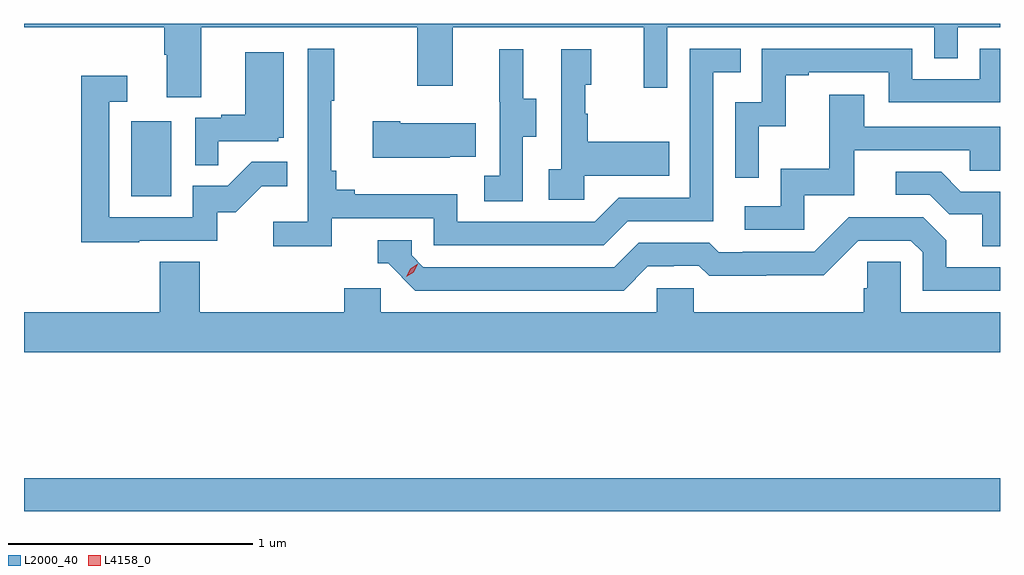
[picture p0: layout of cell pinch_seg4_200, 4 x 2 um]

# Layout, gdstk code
import gdstk
lib = gdstk.Library(unit=1e-6, precision=1e-09)
def R(c, l, rs):  # rectangles x0, y0, x1, y1
    for r in rs: c.add(gdstk.rectangle(r[:2], r[2:], *l))
def P(c, l, *ps):  # polygons
    for p in ps: c.add(gdstk.Polygon(p, *l))
L2000_40 = (2000, 40)
L4158_0 = (4158, 0)

pinch_seg4_200 = lib.new_cell('pinch_seg4_200')
R(pinch_seg4_200, L2000_40, [(963.859,830.8,967.859,830.936), (964.298,832.092,964.462,832.399)])
P(pinch_seg4_200, L2000_40, [(964.585,832.784),(965.47,832.784),(965.47,832.545),(965.617,832.545),(965.617,832.784),(966.398,832.784),(966.398,832.536),(966.495,832.536),(966.495,832.784),(967.59,832.784),(967.59,832.657),(967.686,832.657),(967.686,832.784),(967.859,832.784),(967.859,832.799),(963.859,832.799),(963.859,832.784),(964.433,832.784),(964.433,832.672),(964.445,832.672),(964.445,832.498),(964.585,832.498)],
  [(965.12,832.002),(965.538,832.002),(965.538,831.891),(966.235,831.891),(966.334,831.99),(966.684,831.99),(966.684,832.599),(966.797,832.599),(966.797,832.695),(966.588,832.695),(966.588,832.086),(966.297,832.086),(966.198,831.987),(965.634,831.987),(965.634,832.099),(965.215,832.099),(965.215,832.118),(965.138,832.118),(965.138,832.195),(965.119,832.195),(965.119,832.483),(965.131,832.483),(965.131,832.696),(965.022,832.696),(965.022,831.988),(964.881,831.988),(964.881,831.886),(965.12,831.886)],
  [(966.87,832.379),(966.98,832.379),(966.98,832.587),(967.075,832.587),(967.075,832.599),(967.404,832.599),(967.404,832.476),(967.859,832.476),(967.859,832.695),(967.776,832.695),(967.776,832.572),(967.5,832.572),(967.5,832.695),(966.882,832.695),(966.882,832.476),(966.774,832.476),(966.774,832.167),(966.87,832.167)],
  [(965.904,832.336),(965.959,832.336),(965.959,832.491),(965.905,832.491),(965.905,832.693),(965.807,832.693),(965.807,832.479),(965.808,832.479),(965.808,832.175),(965.745,832.175),(965.745,832.072),(965.904,832.072)],
  [(966.156,832.175),(966.503,832.175),(966.503,832.315),(966.169,832.315),(966.169,832.43),(966.159,832.43),(966.159,832.548),(966.184,832.548),(966.184,832.693),(966.06,832.693),(966.06,832.202),(966.009,832.202),(966.009,832.077),(966.156,832.077)],
  [(964.655,832.317),(964.902,832.317),(964.902,832.332),(964.924,832.332),(964.924,832.681),(964.766,832.681),(964.766,832.426),(964.667,832.426),(964.667,832.413),(964.56,832.413),(964.56,832.219),(964.655,832.219)],
  [(964.331,831.909),(964.65,831.909),(964.65,832.026),(964.726,832.026),(964.833,832.133),(964.937,832.133),(964.937,832.232),(964.793,832.232),(964.695,832.134),(964.551,832.134),(964.551,832.005),(964.209,832.005),(964.209,832.479),(964.282,832.479),(964.282,832.585),(964.093,832.585),(964.093,831.904),(964.331,831.904)],
  [(967.056,832.095),(967.261,832.095),(967.261,832.281),(967.735,832.281),(967.735,832.197),(967.859,832.197),(967.859,832.377),(967.303,832.377),(967.303,832.507),(967.159,832.507),(967.159,832.204),(966.96,832.204),(966.96,832.05),(966.813,832.05),(966.813,831.954),(967.056,831.954)],
  [(965.603,832.253),(965.711,832.253),(965.711,832.39),(965.401,832.39),(965.401,832.398),(965.289,832.398),(965.289,832.25),(965.603,832.25)],
  [(967.859,832.11),(967.699,832.11),(967.618,832.191),(967.431,832.191),(967.431,832.098),(967.572,832.098),(967.652,832.018),(967.787,832.018),(967.787,831.886),(967.859,831.886)],
  [(966.415,831.804),(966.522,831.804),(966.522,831.807),(966.625,831.807),(966.667,831.765),(966.9,831.765),(966.9,831.767),(967.136,831.767),(967.278,831.909),(967.494,831.909),(967.542,831.861),(967.542,831.705),(967.859,831.705),(967.859,831.801),(967.639,831.801),(967.639,831.911),(967.545,832.005),(967.239,832.005),(967.098,831.864),(966.805,831.864),(966.805,831.861),(966.706,831.861),(966.667,831.9),(966.378,831.9),(966.279,831.801),(965.496,831.801),(965.448,831.849),(965.448,831.912),(965.309,831.912),(965.309,831.816),(965.352,831.816),(965.463,831.705),(966.316,831.705)],
  [(967.859,831.616),(967.452,831.616),(967.452,831.824),(967.315,831.824),(967.315,831.714),(967.301,831.714),(967.301,831.616),(966.603,831.616),(966.603,831.714),(966.453,831.714),(966.453,831.616),(965.322,831.616),(965.322,831.714),(965.171,831.714),(965.171,831.616),(964.58,831.616),(964.58,831.824),(964.415,831.824),(964.415,831.616),(963.859,831.616),(963.859,831.452),(967.859,831.452)])
P(pinch_seg4_200, L4158_0, [(965.426,831.762),(965.426,831.762),(965.442,831.795),(965.473,831.814),(965.473,831.814),(965.473,831.814),(965.457,831.781),(965.426,831.762)])

lib.write_gds('pinch_seg4_200.gds')
